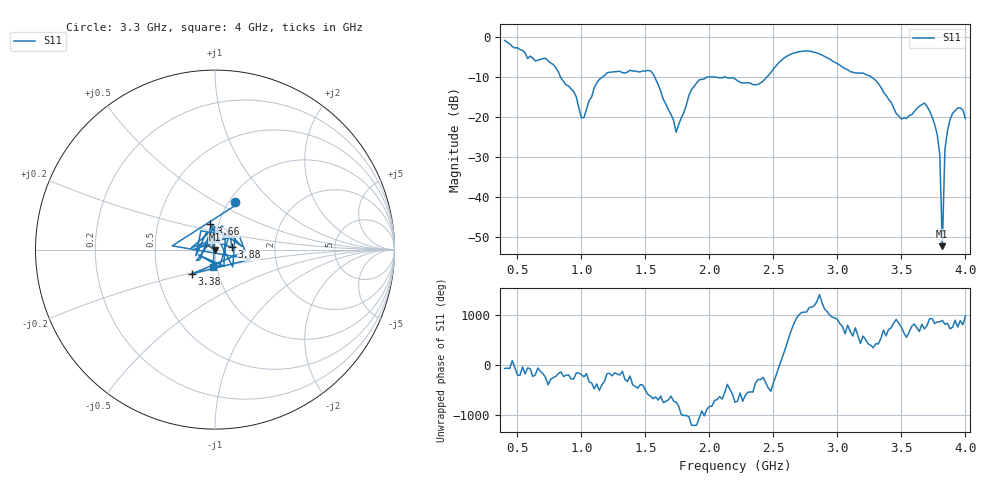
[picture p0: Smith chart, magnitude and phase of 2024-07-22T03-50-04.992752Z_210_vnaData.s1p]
!Created with skrf (http://scikit-rf.org).
# Hz S RI R 50.0
!freq ReS11 ImS11
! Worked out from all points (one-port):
!   181 points, 400 MHz to 4 GHz, reference 50 ohm
!   lowest |S11| = -52.2 dB at 3.82 GHz (marker M1), VSWR 1.00, Z = 49.8 + j0.00642 ohm
!   |S11| at or under -10 dB: 838.1 MHz to 1.161 GHz (322.7 MHz wide, 32.3 % of centre); 1.573 GHz to 1.976 GHz (402.8 MHz wide, 22.7 % of centre); 3.27 GHz to end of sweep (the widest 3 of 5)
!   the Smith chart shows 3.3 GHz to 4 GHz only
!   S11 on the Smith chart (normalised r, x): 3.3 GHz: 1.06, +0.62; 3.38 GHz: 0.74, -0.21; 3.66 GHz: 0.91, +0.26; 3.88 GHz: 1.21, +0.03; 4 GHz: 0.96, -0.19
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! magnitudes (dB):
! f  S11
! 400 MHz  -0.8
! 580 MHz  -5.3
! 720 MHz  -5.2
! 860 MHz  -11.0
! 1.02 GHz  -20.0
! 1.14 GHz  -10.5
! 1.3 GHz  -8.5
! 1.54 GHz  -8.4
! 1.74 GHz  -23.7
! 1.76 GHz  -21.8
! 1.92 GHz  -10.6
! 2.2 GHz  -10.4
! 2.38 GHz  -11.7
! 2.66 GHz  -3.9
! 3.1 GHz  -8.6
! 3.3 GHz  -10.8
! 3.38 GHz  -14.5
! 3.5 GHz  -20.4
! 3.56 GHz  -19.6
! 3.66 GHz  -16.8
! 3.72 GHz  -18.4
! 3.78 GHz  -24.3
! 3.8 GHz  -29.4
! 3.82 GHz  -52.2
! 3.84 GHz  -28.0
! 3.88 GHz  -20.5
! 3.94 GHz  -17.7
! 4 GHz  -20.3
